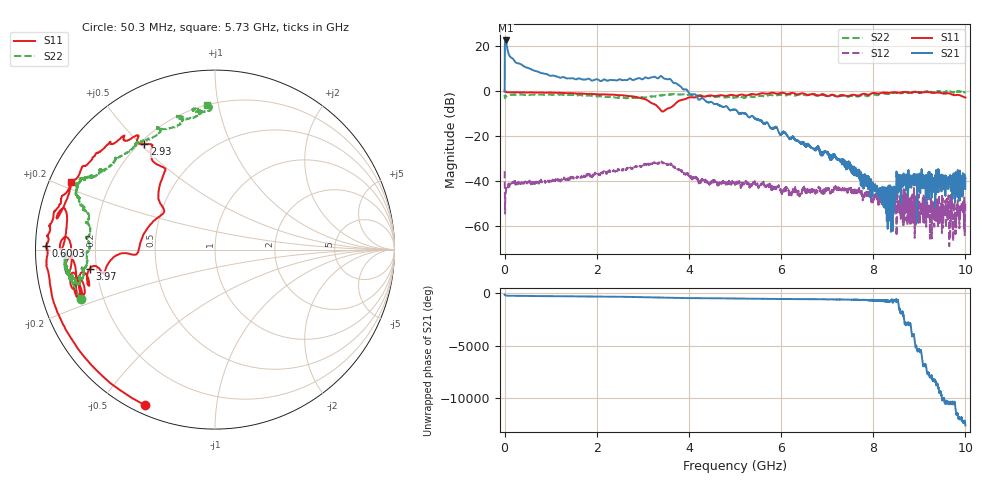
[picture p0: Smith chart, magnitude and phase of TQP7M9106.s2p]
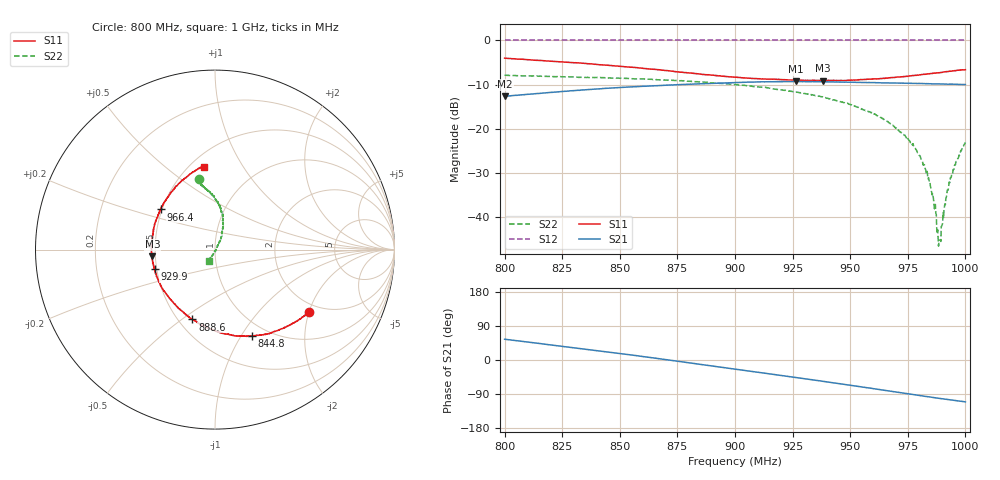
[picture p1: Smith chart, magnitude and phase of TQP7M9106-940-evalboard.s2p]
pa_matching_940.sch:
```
<Qucs Schematic 0.0.20>
<Properties>
  <View=-304,-104,1777,1329,0.785278,0,0>
  <Grid=10,10,1>
  <DataSet=uhf-tx_matching_900.dat>
  <DataDisplay=uhf-tx_matching_900.dpl>
  <OpenDisplay=1>
  <Script=uhf-tx_matching_900.m>
  <RunScript=0>
  <showFrame=0>
  <FrameText0=Title>
  <FrameText1=Drawn By:>
  <FrameText2=Date:>
  <FrameText3=Revision:>
</Properties>
<Symbol>
</Symbol>
<Components>
  <GND *1 5 830 400 0 0 0 0>
  <SPfile X1 1 830 370 -23 -58 0 0 "TQP7M9106.s2p" 0 "polar" 0 "linear" 0 "open" 0 "2" 0>
  <GND *6 5 1260 340 0 0 0 0>
  <C C5 1 1210 210 48 -25 0 0 "10 uF" 1 "" 0 "neutral" 0>
  <C C6 1 1210 270 56 -22 0 0 "100 pF" 1 "" 0 "neutral" 0>
  <C C7 1 1210 310 56 -22 0 0 "100 pF" 1 "" 0 "neutral" 0>
  <C C8 1 1210 240 -87 9 0 0 "1 nF" 1 "" 0 "neutral" 0>
  <L L3 1 1070 210 -26 10 0 0 "18 nH" 1 "" 0>
  <Pac P2 1 1200 400 18 -26 0 1 "4" 1 "50 Ohm" 1 "-100 dBm" 0 "2220 MHz" 0 "26.85" 0>
  <GND *5 5 1200 480 0 0 0 0>
  <C C10 1 1070 440 17 -26 0 1 "8.2pF" 1 "" 0 "neutral" 0>
  <GND *4 5 1070 480 0 0 0 0>
  <C C9 1 700 430 17 -26 0 1 "6.8pF" 1 "" 0 "neutral" 0>
  <GND *7 5 700 490 0 0 0 0>
  <CLIN CL1 1 910 370 -26 28 0 0 "Nelceo_N_4000_13" 1 "0.78 mm" 1 "0.89 mm" 1 "7 mm" 1 "Air" 0 "yes" 0>
  <CLIN CL2 1 750 370 -26 -123 1 0 "Nelceo_N_4000_13" 1 "0.78 mm" 1 "0.89 mm" 1 "4.2 mm" 1 "Air" 0 "yes" 0>
  <Pac P1 1 140 420 -94 -26 1 1 "3" 1 "50 Ohm" 1 "0 dBm" 0 "1 GHz" 0 "26.85" 0>
  <GND *3 5 140 490 0 0 0 0>
  <C C3 1 230 340 -26 -55 1 0 "22 pF" 1 "" 0 "neutral" 0>
  <R R1 1 230 400 -26 15 0 0 "51 Ohm" 1 "26.85" 0 "0.0" 0 "0.0" 0 "26.85" 0 "european" 0>
  <L L4 1 300 430 10 -26 0 1 "8.2nH" 1 "" 0>
  <GND *2 5 300 490 0 0 0 0>
  <C C1 1 460 370 -26 -55 1 0 "2.4pF" 1 "" 0 "neutral" 0>
  <CLIN CL4 1 350 370 -26 -123 1 0 "Nelceo_N_4000_13" 1 "0.78 mm" 1 "0.89 mm" 1 "5.3 mm" 1 "Air" 0 "yes" 0>
  <CLIN CL3 1 550 370 -26 -123 1 0 "Nelceo_N_4000_13" 1 "0.78 mm" 1 "0.89 mm" 1 "0.82 mm" 1 "Air" 0 "yes" 0>
  <Pac P3 1 330 1170 18 -26 0 1 "1" 1 "50 Ohm" 1 "0 dBm" 0 "1 GHz" 0 "26.85" 0>
  <GND *8 5 330 1200 0 0 0 0>
  <Pac P4 1 690 1170 18 -26 0 1 "2" 1 "50 Ohm" 1 "0 dBm" 0 "1 GHz" 0 "26.85" 0>
  <GND *9 5 690 1200 0 0 0 0>
  <GND *10 5 510 1120 0 0 0 0>
  <SPfile X2 1 510 1090 -26 -38 0 0 "TQP7M9106-940-evalboard.s2p" 0 "rectangular" 0 "linear" 0 "open" 0 "2" 0>
  <Eqn Eqn2 1 870 1080 -28 15 0 0 "S21_dB=dB(S[2,1])+30" 1 "S11_dB=dB(S[1,1])" 1 "S22_dB=dB(S[2,2])" 1 "yes" 0>
  <SUBST Nelceo_N_4000_13 1 1430 290 -30 24 0 0 "3.7" 1 "0.35 mm" 1 "35 um" 1 "0.015" 1 "1.72e-8" 1 "0" 1>
  <Eqn Eqn1 1 1630 270 -31 19 0 0 "S43_dB=dB(S[4,3])" 1 "S34_dB=dB(S[3,4])" 1 "S33_dB=dB(S[3,3])" 1 "S44_dB=dB(S[4,4])" 1 "yes" 0>
  <.SP SP1 1 80 30 0 91 0 0 "log" 1 "800MHz" 1 "1000MHz" 1 "400" 1 "no" 0 "1" 0 "2" 0 "no" 0 "no" 0>
  <C C11 1 1120 370 -26 -55 1 0 "100 pF" 1 "" 0 "neutral" 0>
</Components>
<Wires>
  <940 370 970 370 "" 0 0 0 "">
  <860 370 880 370 "" 0 0 0 "">
  <970 210 970 370 "" 0 0 0 "">
  <970 210 1040 210 "" 0 0 0 "">
  <1260 310 1260 340 "" 0 0 0 "">
  <1240 310 1260 310 "" 0 0 0 "">
  <1240 210 1240 240 "" 0 0 0 "">
  <1180 210 1180 240 "" 0 0 0 "">
  <1100 210 1180 210 "" 0 0 0 "">
  <1240 270 1240 310 "" 0 0 0 "">
  <1180 270 1180 310 "" 0 0 0 "">
  <1180 240 1180 270 "" 0 0 0 "">
  <1240 240 1240 270 "" 0 0 0 "">
  <1200 430 1200 480 "" 0 0 0 "">
  <1150 370 1200 370 "" 0 0 0 "">
  <1070 470 1070 480 "" 0 0 0 "">
  <970 370 1070 370 "" 0 0 0 "">
  <1070 370 1090 370 "" 0 0 0 "">
  <1070 370 1070 410 "" 0 0 0 "">
  <700 460 700 490 "" 0 0 0 "">
  <700 370 700 400 "" 0 0 0 "">
  <780 370 800 370 "" 0 0 0 "">
  <700 370 720 370 "" 0 0 0 "">
  <140 450 140 490 "" 0 0 0 "">
  <140 370 140 390 "" 0 0 0 "">
  <140 370 180 370 "" 0 0 0 "">
  <260 340 280 340 "" 0 0 0 "">
  <180 340 200 340 "" 0 0 0 "">
  <180 340 180 370 "" 0 0 0 "">
  <260 400 280 400 "" 0 0 0 "">
  <180 370 180 400 "" 0 0 0 "">
  <180 400 200 400 "" 0 0 0 "">
  <280 340 280 370 "" 0 0 0 "">
  <280 370 280 400 "" 0 0 0 "">
  <280 370 300 370 "" 0 0 0 "">
  <300 370 320 370 "" 0 0 0 "">
  <300 370 300 400 "" 0 0 0 "">
  <300 460 300 490 "" 0 0 0 "">
  <380 370 430 370 "" 0 0 0 "">
  <580 370 700 370 "" 0 0 0 "">
  <490 370 520 370 "" 0 0 0 "">
  <330 1090 330 1140 "" 0 0 0 "">
  <330 1090 480 1090 "" 0 0 0 "">
  <690 1090 690 1140 "" 0 0 0 "">
  <540 1090 690 1090 "" 0 0 0 "">
</Wires>
<Diagrams>
  <Rect 740 889 693 249 3 #c0c0c0 1 00 1 4e+08 1e+08 1.5e+09 1 -7.52911 5 21.0888 1 -1 0.5 1 315 0 225 "" "" "" "">
	<"S43_dB" #0000ff 2 3 0 0 0>
	<"S21_dB" #ff0000 2 3 0 0 0>
  </Rect>
  <Smith 190 906 326 326 3 #c0c0c0 1 00 1 0 1 1 1 0 4 1 1 0 1 1 315 0 225 "" "" "" "">
	<"S[4,4]" #0000ff 2 3 0 0 0>
	<"S[3,3]" #ff0000 2 3 0 0 0>
	<"S[1,1]" #ff00ff 2 3 0 0 0>
	<"S[2,2]" #00ff00 2 3 0 0 0>
  </Smith>
</Diagrams>
<Paintings>
  <Text 430 50 22 #000000 0 "Evaluation Board at 940MHz">
</Paintings>
```
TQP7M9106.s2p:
! TriQuint Semiconductor
! TQP7M9106 Power Amplifier
! 24-pin QFN Package
! The data is for the unmatched device in a 50 Ohm system, 2-port file de-embedded to the device leads.
! Device bias: +5V V @ 455 mA Icq
! Temperature: 25C
!  Port 1 corresponds to Pins 4 and 5 on TQP7M9106 (RF input)
!  Port 2 corresponds to Pins 14, 15 and 16 on TQP7M9106 (RF output)
! All data in (Magnitude/Angle) format
! freq-unit  param-type  data-format  keyword  impedance-ohms
! GHz		S-param		Mag/Angle		50 Ohms
# Hz S dB R 50
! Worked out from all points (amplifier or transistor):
!   2001 points, 300 kHz to 10 GHz, reference 50 ohm
!   highest |S21| = 22.6 dB at 20.3 MHz (marker M1)
!   |S21| within 3 dB of that: 5.246 MHz to 51.88 MHz (46.63 MHz wide, 163 % of centre)
!   unconditionally stable (mu >= 1): 991.8 MHz to 9.39 GHz; 9.42 GHz to 9.629 GHz; 9.631 GHz to end of sweep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
!   at 1.665 GHz: K = 1.49, MAG = 17.7 dB, |S12| = -38.3 dB
!   at 5 GHz: K = 24.78, MAG = -0.7 dB, |S12| = -40.6 dB
!   at 10 GHz: K = 576.91, MAG = -24.8 dB, |S12| = -50.3 dB
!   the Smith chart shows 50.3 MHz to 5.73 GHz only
!   S11 on the Smith chart (normalised r, x): 50.3 MHz: 0.04, -0.65; 600.3 MHz: 0.03, +0.01; 2.93 GHz: 0.22, +0.51; 3.97 GHz: 0.17, -0.07; 5.73 GHz: 0.06, +0.22
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300000  0.02 -0.3  -0.25 -105.6  -35.69 -161.7  -1.59 -2.3
2.02994e7  -0.25 -62.2  22.62 174.5  -46.84 68.6  -2.65 -133.8
5.02985e7  -0.44 -114.2  19.78 144.7  -42.10 39.1  -1.98 -159.9
8.02976e7  -0.52 -137.5  17.16 138.8  -41.42 25.2  -1.66 -167.6
2.052938e8  -0.51 -164.9  13.73 131.6  -40.91 3.7  -1.58 -175.5
6.00282e8  -0.53 178.7  9.50 112.3  -41.24 0.8  -1.56 -176.2
2.930212e9  -3.01 123.8  5.80 16.0  -33.52 -63.6  -2.83 168.2
3.970181e9  -3.02 -171.3  0.25 -85.5  -36.93 -178.0  -1.66 151.9
5.00015e9  -2.03 -167.4  -8.19 -121.3  -40.58 127.3  -2.93 117.5
5.730128e9  -1.06 155.0  -14.97 -165.5  -42.78 68.9  -1.84 93.0
1e10  -2.83 69.8  -38.69 -5.2  -50.33 23.1  -0.39 134.7
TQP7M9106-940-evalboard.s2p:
!	created	by	azisi	at	Mon	Jul	20	20:14:54	EEST	2020
!	generated	using	vna/J	Version	3.4.3
#	Hz	S	DB	R	50
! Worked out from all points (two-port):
!   1014 points, 800 MHz to 1 GHz, reference 50 ohm
!   highest |S21| = -9.27 dB at 926.6 MHz (marker M1); lowest = -12.6 dB at 800.2 MHz (marker M2)
!   |S21| within 3 dB of the highest: 807.7768 MHz to 808.0849 MHz (308 kHz wide, 0.0381 % of centre); 808.5 MHz to end of sweep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
!   lowest |S11| = -9.1 dB at 938 MHz (marker M3), VSWR 2.08, Z = 24.1 - j2.09 ohm
!   |S11| at or under -10 dB: nowhere
!   |S22| runs from -46.5 to -7.9 dB; largest |S21 - S12| = 1.2
!   S11 on the Smith chart (normalised r, x): 800 MHz: 1.74, -2.01; 844.8 MHz: 0.84, -1.12; 888.6 MHz: 0.59, -0.55; 929.9 MHz: 0.49, -0.12; 966.4 MHz: 0.49, +0.26; 1 GHz: 0.58, +0.69
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8e8  -4.01 -33.5  -12.61 54.8  0.00 0.0  -7.86 102.7
8.001974e8  -4.00 -33.7  -12.61 54.8  0.00 0.0  -7.86 102.6
8.448171e8  -5.61 -67.0  -10.79 21.2  0.00 0.0  -8.48 102.9
8.88647e8  -7.77 -107.9  -9.73 -14.6  0.00 0.0  -9.52 97.3
9.00098e8  -8.29 -121.7  -9.52 -24.1  0.00 0.0  -9.95 94.7
9.265539e8  -8.99 -157.2  -9.27 -46.3  0.00 0.0  -11.66 86.2
9.299103e8  -9.02 -162.0  -9.29 -49.2  0.00 0.0  -11.98 85.2
9.38005e8  -9.09 -173.8  -9.33 -56.2  0.00 0.0  -12.73 81.9
9.664352e8  -8.49 143.5  -9.60 -81.5  0.00 0.0  -18.33 69.5
9.885476e8  -7.32 112.3  -9.82 -101.1  0.00 0.0  -45.36 -25.8
9.999986e8  -6.61 97.8  -9.97 -110.5  0.00 0.0  -23.06 -119.7
